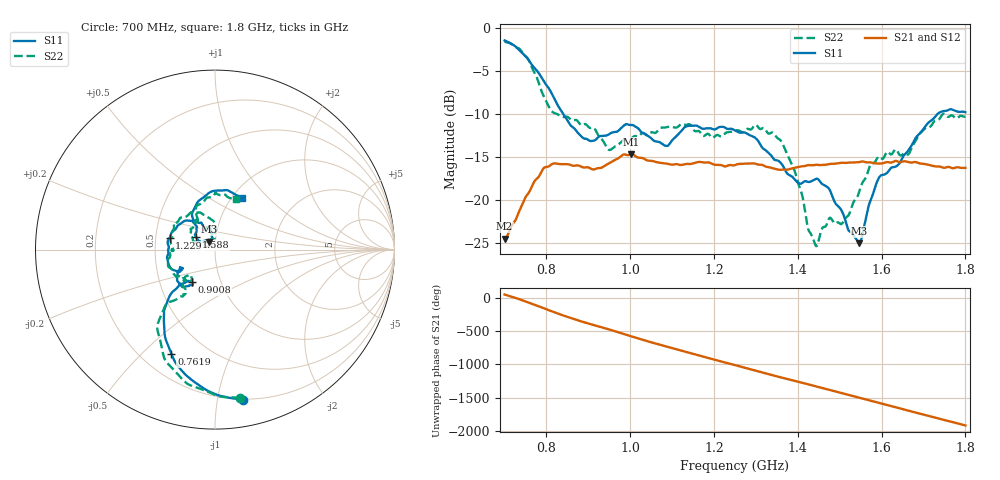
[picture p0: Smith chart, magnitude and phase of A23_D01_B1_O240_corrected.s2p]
! Created with skrf 1.9.0 (http://scikit-rf.org).
# Hz S RI R 50.0
!freq ReS11 ImS11 ReS21 ImS21 ReS12 ImS12 ReS22 ImS22
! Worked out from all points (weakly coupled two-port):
!   1601 points, 700 MHz to 1.8 GHz, reference 50 ohm
!   highest |S21| = -14.68 dB at 1.002 GHz (marker M1); lowest = -24.5 dB at 700 MHz (marker M2)
!   lowest |S11| = -25.1 dB at 1.547 GHz (marker M3), VSWR 1.12, Z = 46.4 + j4.05 ohm
!   |S11| at or under -10 dB: 840.2 MHz to 1.733 GHz (892.9 MHz wide, 69.4 % of centre)
!   |S22| runs from -25.4 to -1.5 dB; largest |S21 - S12| = 0.0037
!   S11 on the Smith chart (normalised r, x): 700 MHz: 0.20, -1.19; 761.9 MHz: 0.32, -0.62; 900.8 MHz: 0.73, -0.28; 1.229 GHz: 0.59, +0.08; 1.588 GHz: 0.80, +0.11; 1.8 GHz: 1.12, +0.72
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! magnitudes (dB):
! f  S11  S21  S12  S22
! 700 MHz  -1.4  -24.5  -24.3  -1.5
! 761.9 MHz  -4.0  -18.8  -18.7  -4.2
! 812.1 MHz  -7.5  -15.9  -15.8  -9.6
! 883.6 MHz  -12.6  -16.1  -16.0  -11.3
! 900.8 MHz  -13.0  -16.2  -16.2  -11.5
! 949.6 MHz  -12.3  -15.7  -15.7  -14.2
! 1.002 GHz  -11.3  -14.7  -14.8  -12.9
! 1.067 GHz  -13.2  -15.6  -15.6  -11.8
! 1.138 GHz  -11.4  -15.8  -15.8  -11.2
! 1.229 GHz  -11.7  -16.1  -16.0  -12.2
! 1.25 GHz  -11.9  -15.9  -15.9  -11.9
! 1.359 GHz  -15.7  -16.5  -16.5  -13.1
! 1.394 GHz  -17.7  -16.2  -16.2  -16.8
! 1.434 GHz  -17.8  -16.0  -15.9  -24.2
! 1.445 GHz  -17.5  -15.9  -15.9  -25.4
! 1.506 GHz  -21.4  -15.7  -15.7  -22.7
! 1.547 GHz  -25.1  -15.6  -15.6  -19.0
! 1.588 GHz  -18.0  -15.7  -15.7  -15.2
! 1.617 GHz  -16.6  -15.6  -15.6  -14.5
! 1.663 GHz  -14.3  -15.6  -15.6  -14.7
! 1.736 GHz  -9.9  -16.1  -16.2  -10.6
! 1.8 GHz  -9.8  -16.3  -16.3  -10.3
